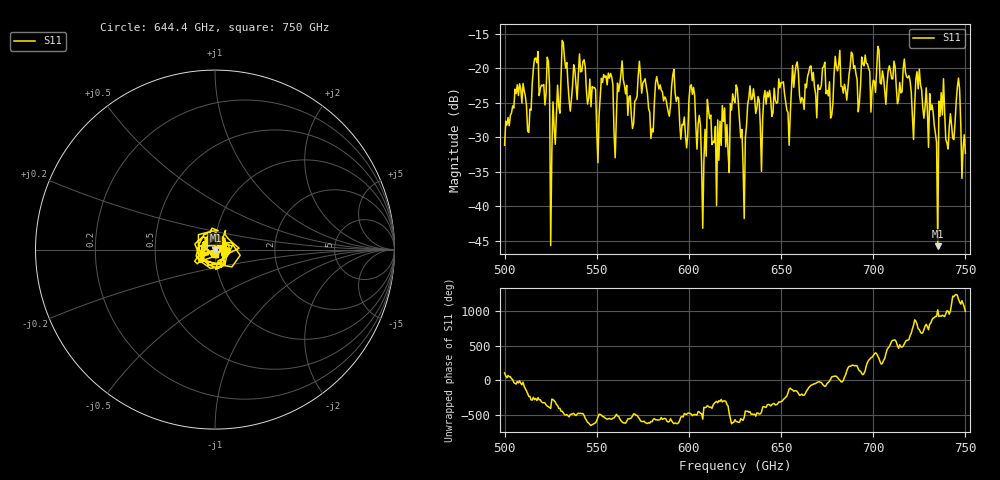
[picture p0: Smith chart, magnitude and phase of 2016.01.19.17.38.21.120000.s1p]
!Created with skrf (http://scikit-rf.org).
# GHz S RI R 50.0
!freq ReS11 ImS11
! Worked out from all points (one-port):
!   401 points, 500 GHz to 750 GHz, reference 50 ohm
!   lowest |S11| = -45.8 dB at 735 GHz (marker M1), VSWR 1.01, Z = 50.2 - j0.472 ohm
!   |S11| at or under -10 dB: start of sweep to end of sweep
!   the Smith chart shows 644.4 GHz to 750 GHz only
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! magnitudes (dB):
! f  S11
! 500 GHz  -31.2
! 506.9 GHz  -22.4
! 513.1 GHz  -29.3
! 516.9 GHz  -18.5
! 523.1 GHz  -18.4
! 526.2 GHz  -24.9
! 531.2 GHz  -16.0
! 550.6 GHz  -33.7
! 562.5 GHz  -22.3
! 579.4 GHz  -30.2
! 583.1 GHz  -22.1
! 593.8 GHz  -24.2
! 598.1 GHz  -29.7
! 601.9 GHz  -23.8
! 608.1 GHz  -33.4
! 610.6 GHz  -26.1
! 616.2 GHz  -33.3
! 625 GHz  -25.0
! 629.4 GHz  -34.1
! 633.8 GHz  -24.6
! 656.2 GHz  -19.6
! 687.5 GHz  -19.8
! 718.8 GHz  -21.4
! 735 GHz  -45.8
! 736.9 GHz  -23.6
! 740.6 GHz  -31.7
! 745.6 GHz  -22.7
! 750 GHz  -32.3
